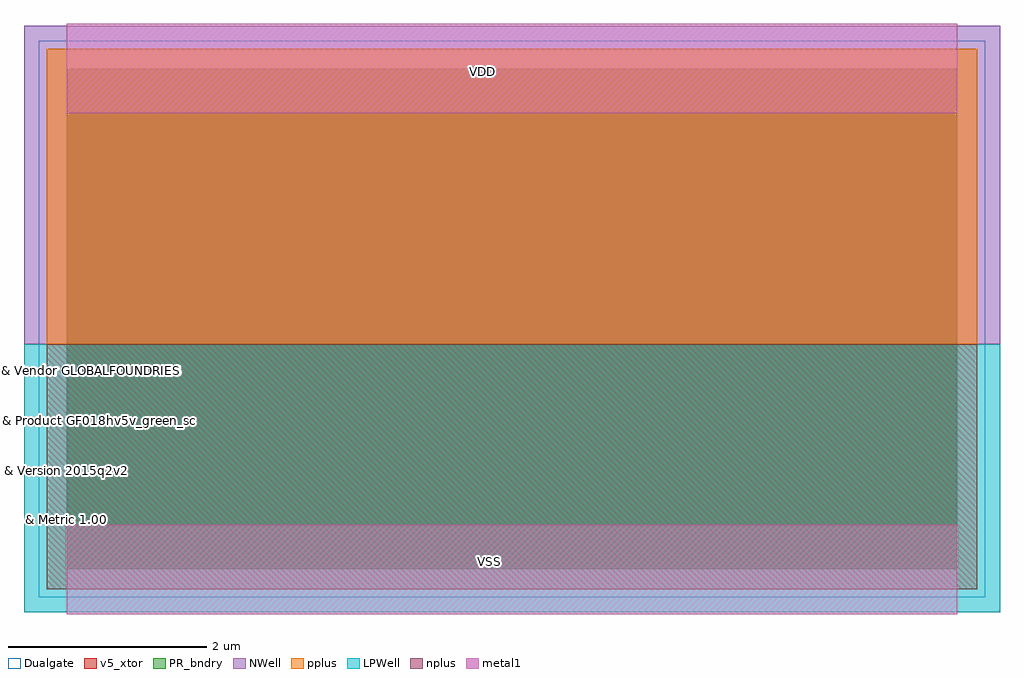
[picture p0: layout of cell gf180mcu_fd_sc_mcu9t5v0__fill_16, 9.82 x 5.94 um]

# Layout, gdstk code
import gdstk
lib = gdstk.Library(unit=1e-6, precision=1e-09)
def R(c, l, rs):  # rectangles x0, y0, x1, y1
    for r in rs: c.add(gdstk.rectangle(r[:2], r[2:], *l))
PR_bndry = (0, 0)
NWell = (21, 0)
pplus = (31, 0)
nplus = (32, 0)
metal1 = (34, 0)
Dualgate = (55, 0)
v5_xtor = (112, 1)
LPWell = (204, 0)

gf180mcu_fd_sc_mcu9t5v0_ = lib.new_cell('gf180mcu_fd_sc_mcu9t5v0__fill_16')
R(gf180mcu_fd_sc_mcu9t5v0_, PR_bndry, [(0,0,8.96,5.04)])
R(gf180mcu_fd_sc_mcu9t5v0_, NWell, [(-0.43,2.265,9.39,5.47)])
R(gf180mcu_fd_sc_mcu9t5v0_, pplus, [(-0.2,2.265,9.16,5.24)])
R(gf180mcu_fd_sc_mcu9t5v0_, nplus, [(-0.2,-0.2,9.16,2.265)])
R(gf180mcu_fd_sc_mcu9t5v0_, metal1, [(0,-0.45,8.96,0.45), (0,4.59,8.96,5.49)])
R(gf180mcu_fd_sc_mcu9t5v0_, Dualgate, [(-0.28,-0.28,9.24,5.32)])
R(gf180mcu_fd_sc_mcu9t5v0_, v5_xtor, [(0,0,8.96,5.04)])
R(gf180mcu_fd_sc_mcu9t5v0_, LPWell, [(-0.43,-0.43,9.39,2.265)])
gf180mcu_fd_sc_mcu9t5v0_.add(gdstk.Label('VDD', (4.18,5.01), layer=34, texttype=10))
gf180mcu_fd_sc_mcu9t5v0_.add(gdstk.Label('VSS', (4.25,0.08), layer=34, texttype=10))
gf180mcu_fd_sc_mcu9t5v0_.add(gdstk.Label('& Vendor GLOBALFOUNDRIES', (0,2), layer=63, texttype=63))
gf180mcu_fd_sc_mcu9t5v0_.add(gdstk.Label('& Product GF018hv5v_green_sc9', (0,1.5), layer=63, texttype=63))
gf180mcu_fd_sc_mcu9t5v0_.add(gdstk.Label('& Version 2015q2v2', (0,1), layer=63, texttype=63))
gf180mcu_fd_sc_mcu9t5v0_.add(gdstk.Label('& Metric 1.00', (0,0.5), layer=63, texttype=63))

lib.write_gds('gf180mcu_fd_sc_mcu9t5v0__fill_16.gds')
